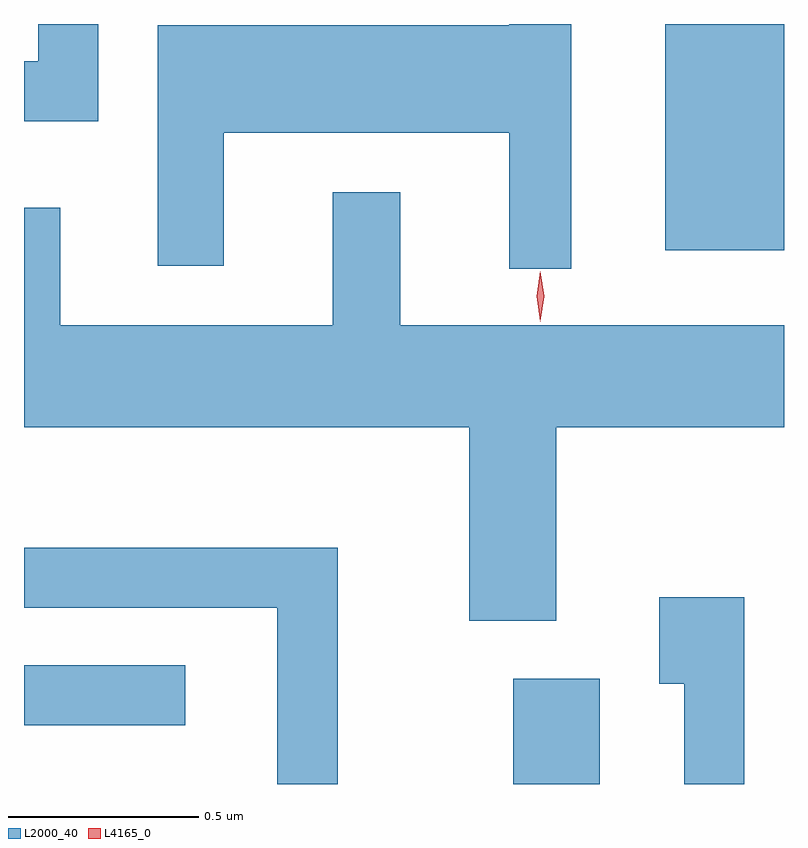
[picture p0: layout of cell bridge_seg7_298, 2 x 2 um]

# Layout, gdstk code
import gdstk
lib = gdstk.Library(unit=1e-6, precision=1e-09)
def R(c, l, rs):  # rectangles x0, y0, x1, y1
    for r in rs: c.add(gdstk.rectangle(r[:2], r[2:], *l))
def P(c, l, *ps):  # polygons
    for p in ps: c.add(gdstk.Polygon(p, *l))
L2000_40 = (2000, 40)
L4165_0 = (4165, 0)

bridge_seg7_298 = lib.new_cell('bridge_seg7_298')
R(bridge_seg7_298, L2000_40, [(1345.246,1757.777,1345.474,1758.054), (1343.959,1757.931,1344.383,1758.089), (1345.646,1759.181,1345.959,1759.777)])
P(bridge_seg7_298, L2000_40, [(1345.399,1759.777),(1345.236,1759.777),(1345.236,1759.774),(1344.311,1759.774),(1344.311,1759.141),(1344.484,1759.141),(1344.484,1759.491),(1345.236,1759.491),(1345.236,1759.133),(1345.399,1759.133)],
  [(1344.154,1759.777),(1343.996,1759.777),(1343.996,1759.679),(1343.959,1759.679),(1343.959,1759.521),(1344.154,1759.521)],
  [(1345.359,1758.716),(1345.959,1758.716),(1345.959,1758.984),(1344.949,1758.984),(1344.949,1759.334),(1344.771,1759.334),(1344.771,1758.984),(1344.054,1758.984),(1344.054,1759.294),(1343.959,1759.294),(1343.959,1758.716),(1345.131,1758.716),(1345.131,1758.206),(1345.359,1758.206)],
  [(1344.784,1758.399),(1343.959,1758.399),(1343.959,1758.241),(1344.626,1758.241),(1344.626,1757.777),(1344.784,1757.777)],
  [(1345.854,1758.269),(1345.631,1758.269),(1345.631,1758.041),(1345.696,1758.041),(1345.696,1757.777),(1345.854,1757.777)])
P(bridge_seg7_298, L4165_0, [(1345.318,1758.994),(1345.318,1758.995),(1345.308,1759.061),(1345.317,1759.127),(1345.318,1759.127),(1345.318,1759.127),(1345.328,1759.061),(1345.318,1758.995)])

lib.write_gds('bridge_seg7_298.gds')
